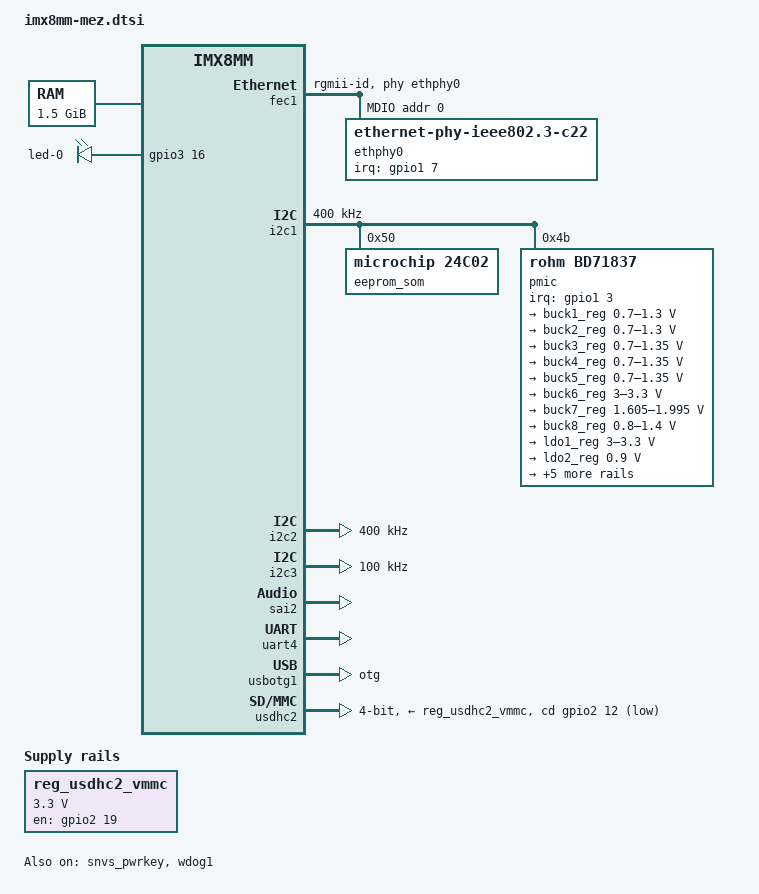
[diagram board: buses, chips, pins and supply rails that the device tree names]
// SPDX-License-Identifier: (GPL-2.0+ OR MIT)
/*
 * Copyright 2020,2022 NXP
 */

/dts-v1/;

#include <dt-bindings/usb/pd.h>
#include "imx8mm.dtsi"

/ {
	chosen {
		stdout-path = &uart4;
	};

	memory@40000000 {
		device_type = "memory";
		reg = <0x0 0x40000000 0 0x60000000>;
	};

	/* status led */
	leds {
		compatible = "gpio-leds";
		pinctrl-names = "default";
		pinctrl-0 = <&pinctrl_gpio_led>;

		led-0 {
			gpios = <&gpio3 16 GPIO_ACTIVE_HIGH>;
			default-state = "on";
		};
	};

	/* uSD regulator EN */
	reg_usdhc2_vmmc: regulator-usdhc2 {
		compatible = "regulator-fixed";
		pinctrl-names = "default";
		pinctrl-0 = <&pinctrl_reg_usdhc2_vmmc>;
		regulator-name = "VSD_3V3";
		regulator-min-microvolt = <3300000>;
		regulator-max-microvolt = <3300000>;
		gpio = <&gpio2 19 GPIO_ACTIVE_HIGH>;
		enable-active-high;
	};

	/* DSI system */
//	dsi_host: dsi-host {
//		compatible = "samsung,sec-mipi-dsi";
//		status = "okay";
//	};
};

&A53_0 {
	cpu-supply = <&buck2_reg>;
};

&A53_1 {
	cpu-supply = <&buck2_reg>;
};

&A53_2 {
	cpu-supply = <&buck2_reg>;
};

&A53_3 {
	cpu-supply = <&buck2_reg>;
};

/* rgmii */
&fec1 {
	pinctrl-names = "default";
	pinctrl-0 = <&pinctrl_fec1>;
	phy-mode = "rgmii-id";
	phy-handle = <&ethphy0>;
	fsl,magic-packet;
	status = "okay";

	mdio {
		#address-cells = <1>;
		#size-cells = <0>;

		ethphy0: ethernet-phy@0 {
			compatible = "ethernet-phy-ieee802.3-c22";
			interrupt-parent = <&gpio1>;
			interrupts = <7 IRQ_TYPE_LEVEL_LOW>;
			micrel,led-mode = <0>;
			reg = <0>;
/*
			reset-gpios = <&gpio1 6 GPIO_ACTIVE_LOW>;
			reset-assert-us = <15000>;
			reset-deassert-us = <100000>;
*/
		};
	};
};

/* I2C1 */
&i2c1 {
	clock-frequency = <400000>;
	pinctrl-names = "default";
	pinctrl-0 = <&pinctrl_i2c1>;
	status = "okay";

    	eeprom_som@50 {
		compatible = "microchip,24c02";
		pagesize = <16>;
		read-only;
		reg = <0x50>;
		#address-cells = <1>;
		#size-cells = <1>;
	};
	
	pmic: pmic@4b {
		compatible = "rohm,bd71837";
		reg = <0x4b>;
		pinctrl-names = "default";
		/* PMIC BD71837 PMIC_nINT GPIO1_IO3 */
		pinctrl-0 = <&pinctrl_pmic>;
		interrupt-parent = <&gpio1>;
		interrupts = <3 IRQ_TYPE_LEVEL_LOW>;
		rohm,reset-snvs-powered;

		gpo {
			rohm,drv = <0x0C>;	/* 0b0000_1100 all gpos with cmos output mode */
		};

		regulators {
			#address-cells = <1>;
			#size-cells = <0>;

			bd71837,pmic-buck2-uses-i2c-dvs;
			bd71837,pmic-buck2-dvs-voltage = <1000000>, <900000>, <0>; /* VDD_ARM: Run-Idle */
			
			buck1_reg: BUCK1 {
				reg = <0>;
				regulator-compatible = "buck1";
				regulator-min-microvolt = <700000>;
				regulator-max-microvolt = <1300000>;
				regulator-boot-on;
				regulator-always-on;
				regulator-ramp-delay = <1250>;
		    };

			buck2_reg: BUCK2 {
				reg = <1>;
				regulator-compatible = "buck2";
				regulator-min-microvolt = <700000>;
				regulator-max-microvolt = <1300000>;
				regulator-boot-on;
				regulator-always-on;
				regulator-ramp-delay = <1250>;
			};

			buck3_reg: BUCK3 {
				// BUCK5 in datasheet
				reg = <2>;
				regulator-compatible = "buck3";
				regulator-min-microvolt = <700000>;
				regulator-max-microvolt = <1350000>;
			};

			buck4_reg: BUCK4 {
				// BUCK6 in datasheet
				reg = <3>;
				regulator-name = "buck4";
				regulator-min-microvolt = <700000>;
				regulator-max-microvolt = <1350000>;
			};

			buck5_reg: BUCK5 {
				// BUCK7 in datasheet
				reg = <4>;
				regulator-compatible = "buck5";
				regulator-min-microvolt = <700000>;
				regulator-max-microvolt = <1350000>;
				regulator-boot-on;
				regulator-always-on;
			};

			buck6_reg: BUCK6 {
				// BUCK8 in datasheet
				reg = <5>;
				regulator-compatible = "buck6";
				regulator-min-microvolt = <3000000>;
				regulator-max-microvolt = <3300000>;
				regulator-boot-on;
				regulator-always-on;
			};

			buck7_reg: BUCK7 {
				reg = <6>;
				regulator-compatible = "buck7";
				regulator-min-microvolt = <1605000>;
				regulator-max-microvolt = <1995000>;
				regulator-boot-on;
				regulator-always-on;
			};

			buck8_reg: BUCK8 {
				reg = <7>;
				regulator-compatible = "buck8";
				regulator-min-microvolt = <800000>;
				regulator-max-microvolt = <1400000>;
				regulator-boot-on;
				regulator-always-on;
			};

			ldo1_reg: LDO1 {
				reg = <8>;
				regulator-compatible = "ldo1";
				regulator-min-microvolt = <3000000>;
				regulator-max-microvolt = <3300000>;
				regulator-boot-on;
				regulator-always-on;
			};

			ldo2_reg: LDO2 {
				reg = <9>;
				regulator-compatible = "ldo2";
				regulator-min-microvolt = <900000>;
				regulator-max-microvolt = <900000>;
				regulator-boot-on;
				regulator-always-on;
			};

			ldo3_reg: LDO3 {
				reg = <10>;
				regulator-compatible = "ldo3";
				regulator-min-microvolt = <1800000>;
				regulator-max-microvolt = <3300000>;
				regulator-boot-on;
				regulator-always-on;
			};

			ldo4_reg: LDO4 {
				reg = <11>;
				regulator-compatible = "ldo4";
				regulator-min-microvolt = <900000>;
				regulator-max-microvolt = <1800000>;
				regulator-always-on;
			};

			ldo5_reg: LDO5 {
				reg = <13>;
				regulator-compatible = "ldo5";
				regulator-min-microvolt = <1800000>;
				regulator-max-microvolt = <3300000>;
			};

			ldo6_reg: LDO6 {
				reg = <14>;
				regulator-compatible = "ldo6";
				regulator-min-microvolt = <900000>;
				regulator-max-microvolt = <1800000>;
				regulator-boot-on;
				regulator-always-on;
			};
			
			ldo7_reg: LDO7 {
				reg = <15>;
				regulator-compatible = "ldo7";
				regulator-min-microvolt = <1800000>;
				regulator-max-microvolt = <3300000>;
			};
		};
	};
};

/* I2C2 */
&i2c2 {
	clock-frequency = <400000>;
	pinctrl-names = "default";
	pinctrl-0 = <&pinctrl_i2c2>;
	status = "okay";

//	adv_bridge: adv7535@3d {
//		compatible = "adi,adv7535";
//		reg = <0x3d>;
//		adi,addr-cec = <0x3c>;
//		adi,dsi-lanes = <4>;
//		status = "okay";
//
//		port {
//			adv7535_from_dsim: endpoint {
//				remote-endpoint = <&dsim_to_adv7535>;
//			};
//		};
//	};

};

/* I2C3 */
&i2c3 {
	clock-frequency = <100000>;
	pinctrl-names = "default";
	pinctrl-0 = <&pinctrl_i2c3>;
	status = "okay";
};

/* SAI2 AUDIO I2S */
&sai2 {
	pinctrl-names = "default";
	pinctrl-0 = <&pinctrl_sai2>;
	assigned-clocks = <&clk IMX8MM_CLK_SAI2>;
//	assigned-clock-parents = <&clk IMX8MM_CLK_25M>;
	assigned-clock-rates = <25000000>;
	fsl,sai-mclk-direction-output;
	fsl,sai-asynchronous;
	status = "okay";
};

/* SNVS */
&snvs_pwrkey {
	status = "okay";
};

/* UART console */
&uart4 {
	pinctrl-names = "default";
	pinctrl-0 = <&pinctrl_uart4>;
	status = "okay";
};

&usbotg1 {
	pinctrl-names = "default";
	pinctrl-0 = <&pinctrl_usbotg1>;
/*	dr_mode = "otg";
	samsung,picophy-pre-emp-curr-control = <3>;
	samsung,picophy-dc-vol-level-adjust = <7>;
	dr_mode = "peripheral";*/
	dr_mode = "otg";
	status = "okay";
};

&usbotg2 {
	status = "disabled";
};

/* uSD Card */
&usdhc2 {
/*	assigned-clocks = <&clk IMX8MM_CLK_USDHC2>;
	assigned-clock-rates = <200000000>;*/
	pinctrl-names = "default", "state_100mhz", "state_200mhz";
	pinctrl-0 = <&pinctrl_usdhc2>, <&pinctrl_usdhc2_gpio>;
	pinctrl-1 = <&pinctrl_usdhc2_100mhz>, <&pinctrl_usdhc2_gpio>;
	pinctrl-2 = <&pinctrl_usdhc2_200mhz>, <&pinctrl_usdhc2_gpio>;
	cd-gpios = <&gpio2 12 GPIO_ACTIVE_LOW>;
	bus-width = <4>;
	vmmc-supply = <&reg_usdhc2_vmmc>;
	status = "okay";
};

/* Watchdog IO */
&wdog1 {
	pinctrl-names = "default";
	pinctrl-0 = <&pinctrl_wdog>;
	fsl,ext-reset-output;
	status = "okay";
};

/* LCD interface */
&lcdif {
//	display = <&display0>;
//	status = "okay";

//	display0: display@0 {
//		bits-per-pixel = <24>;
//		bus-width = <24>;
//	};
};

&mipi_dsi {
//	status = "okay";

//	port@1 {
//		dsim_to_adv7535: endpoint {
//			remote-endpoint = <&adv7535_from_dsim>;
//		};
//	};
};

&iomuxc {

	/* rgmii */
	pinctrl_fec1: fec1grp {
		fsl,pins = <
			MX8MM_IOMUXC_ENET_MDC_ENET1_MDC				0x3
			MX8MM_IOMUXC_ENET_MDIO_ENET1_MDIO			0x3
			MX8MM_IOMUXC_ENET_TD3_ENET1_RGMII_TD3		0x1f
			MX8MM_IOMUXC_ENET_TD2_ENET1_RGMII_TD2		0x1f
			MX8MM_IOMUXC_ENET_TD1_ENET1_RGMII_TD1		0x1f
			MX8MM_IOMUXC_ENET_TD0_ENET1_RGMII_TD0		0x1f
			MX8MM_IOMUXC_ENET_RD3_ENET1_RGMII_RD3		0x91
			MX8MM_IOMUXC_ENET_RD2_ENET1_RGMII_RD2		0x91
			MX8MM_IOMUXC_ENET_RD1_ENET1_RGMII_RD1		0x91
			MX8MM_IOMUXC_ENET_RD0_ENET1_RGMII_RD0		0x91
			MX8MM_IOMUXC_ENET_TXC_ENET1_RGMII_TXC		0x1f
			MX8MM_IOMUXC_ENET_RXC_ENET1_RGMII_RXC		0x91
			MX8MM_IOMUXC_ENET_RX_CTL_ENET1_RGMII_RX_CTL	0x91
			MX8MM_IOMUXC_ENET_TX_CTL_ENET1_RGMII_TX_CTL	0x1f
/*			MX8MM_IOMUXC_GPIO1_IO06_GPIO1_IO6		0x184	*//*0x19*/
			MX8MM_IOMUXC_GPIO1_IO07_GPIO1_IO7		0x1c4	/*0x1c4*//*0x19*/
		>;
	};

	/* status led */
	pinctrl_gpio_led: gpioledgrp {
		fsl,pins = <
			MX8MM_IOMUXC_NAND_READY_B_GPIO3_IO16	0x19
		>;
	};

	/* SAI2 AUDIO I2S */
	pinctrl_sai2: sai2grp {
		fsl,pins = <
			MX8MM_IOMUXC_SAI2_RXD0_SAI2_RX_DATA0		0xd6
			MX8MM_IOMUXC_SAI2_RXFS_SAI2_RX_SYNC			0xd6
			MX8MM_IOMUXC_SAI2_TXC_SAI2_TX_BCLK			0xd6
			MX8MM_IOMUXC_SAI2_TXFS_SAI2_TX_SYNC			0xd6
			MX8MM_IOMUXC_SAI2_RXC_SAI2_RX_BCLK			0xd6
			MX8MM_IOMUXC_SAI2_MCLK_SAI2_MCLK			0xd6
			MX8MM_IOMUXC_SAI2_TXD0_SAI2_TX_DATA0		0xd6
		>;
	};

	/* I2C1 */
	pinctrl_i2c1: i2c1grp {
		fsl,pins = <
			MX8MM_IOMUXC_I2C1_SCL_I2C1_SCL			0x400001c3
			MX8MM_IOMUXC_I2C1_SDA_I2C1_SDA			0x400001c3
		>;
	};

	/* I2C2 */
	pinctrl_i2c2: i2c2grp {
		fsl,pins = <
			MX8MM_IOMUXC_I2C2_SCL_I2C2_SCL			0x400001c3
			MX8MM_IOMUXC_I2C2_SDA_I2C2_SDA			0x400001c3
		>;
	};

	/* I2C3 */
	pinctrl_i2c3: i2c3grp {
		fsl,pins = <
			MX8MM_IOMUXC_I2C3_SCL_I2C3_SCL			0x400001c3
			MX8MM_IOMUXC_I2C3_SDA_I2C3_SDA			0x400001c3
		>;
	};

	/* PMIC interrupt */
	pinctrl_pmic: pmicirqgrp {
		fsl,pins = <
			MX8MM_IOMUXC_GPIO1_IO03_GPIO1_IO3		0x41
		>;
	};

	/* uSD regulator EN */
	pinctrl_reg_usdhc2_vmmc: regusdhc2vmmcgrp {
		fsl,pins = <
			MX8MM_IOMUXC_SD2_RESET_B_GPIO2_IO19	0x41
		>;
	};

	pinctrl_sai3: sai3grp {
		fsl,pins = <
			MX8MM_IOMUXC_SAI3_TXFS_SAI3_TX_SYNC     0xd6
			MX8MM_IOMUXC_SAI3_TXC_SAI3_TX_BCLK      0xd6
			MX8MM_IOMUXC_SAI3_MCLK_SAI3_MCLK        0xd6
			MX8MM_IOMUXC_SAI3_TXD_SAI3_TX_DATA0     0xd6
		>;
	};

	/* UART console */
	pinctrl_uart4: uart4grp {
		fsl,pins = <
			MX8MM_IOMUXC_UART4_RXD_UART4_DCE_RX	0x140
			MX8MM_IOMUXC_UART4_TXD_UART4_DCE_TX	0x140
		>;
	};

	/* uSD Card Card detect */
	pinctrl_usdhc2_gpio: usdhc2grpgpiogrp {
		fsl,pins = <
			MX8MM_IOMUXC_SD2_CD_B_GPIO2_IO12	0x1c4
		>;
	};

	/* uSD Card */
	pinctrl_usdhc2: usdhc2grp {
		fsl,pins = <
			MX8MM_IOMUXC_SD2_CLK_USDHC2_CLK			0x190
			MX8MM_IOMUXC_SD2_CMD_USDHC2_CMD			0x1d0
			MX8MM_IOMUXC_SD2_DATA0_USDHC2_DATA0		0x1d0
			MX8MM_IOMUXC_SD2_DATA1_USDHC2_DATA1		0x1d0
			MX8MM_IOMUXC_SD2_DATA2_USDHC2_DATA2		0x1d0
			MX8MM_IOMUXC_SD2_DATA3_USDHC2_DATA3		0x1d0
//			MX8MM_IOMUXC_GPIO1_IO04_USDHC2_VSELECT	0x1d0
		>;
	};

	/* uSD Card 100 MHz */
	pinctrl_usdhc2_100mhz: usdhc2-100mhzgrp {
		fsl,pins = <
			MX8MM_IOMUXC_SD2_CLK_USDHC2_CLK		0x194
			MX8MM_IOMUXC_SD2_CMD_USDHC2_CMD		0x1d4
			MX8MM_IOMUXC_SD2_DATA0_USDHC2_DATA0	0x1d4
			MX8MM_IOMUXC_SD2_DATA1_USDHC2_DATA1	0x1d4
			MX8MM_IOMUXC_SD2_DATA2_USDHC2_DATA2	0x1d4
			MX8MM_IOMUXC_SD2_DATA3_USDHC2_DATA3	0x1d4
//			MX8MM_IOMUXC_GPIO1_IO04_USDHC2_VSELECT	0x1d0
		>;
	};

	/* uSD Card 200 MHz */
	pinctrl_usdhc2_200mhz: usdhc2-200mhzgrp {
		fsl,pins = <
			MX8MM_IOMUXC_SD2_CLK_USDHC2_CLK		0x196
			MX8MM_IOMUXC_SD2_CMD_USDHC2_CMD		0x1d6
			MX8MM_IOMUXC_SD2_DATA0_USDHC2_DATA0	0x1d6
			MX8MM_IOMUXC_SD2_DATA1_USDHC2_DATA1	0x1d6
			MX8MM_IOMUXC_SD2_DATA2_USDHC2_DATA2	0x1d6
			MX8MM_IOMUXC_SD2_DATA3_USDHC2_DATA3	0x1d6
//			MX8MM_IOMUXC_GPIO1_IO04_USDHC2_VSELECT	0x1d0
		>;
	};

	/* Watchdog IO */
	pinctrl_wdog: wdoggrp {
		fsl,pins = <
			MX8MM_IOMUXC_GPIO1_IO02_WDOG1_WDOG_B	0xc6
		>;
	};

	pinctrl_mipi_dsi_en: mipidsiengrp {
		fsl,pins = <
			MX8MM_IOMUXC_GPIO1_IO08_GPIO1_IO8		0x19
		>;
	};

	pinctrl_usbotg1: usbotg1grp {
		fsl,pins = <
			MX8MM_IOMUXC_GPIO1_IO10_USB1_OTG_ID		0x49
//			MX8MM_IOMUXC_GPIO1_IO12_USB1_OTG_PWR	0x49
//			MX8MM_IOMUXC_GPIO1_IO13_USB1_OTG_OC		0x49
		>;
	};

	pinctrl_usbotg2: usbotg2grp {
		fsl,pins = <
			MX8MM_IOMUXC_GPIO1_IO14_USB2_OTG_PWR	0x49
			MX8MM_IOMUXC_GPIO1_IO15_USB2_OTG_OC	0x49
		>;
	};
};
